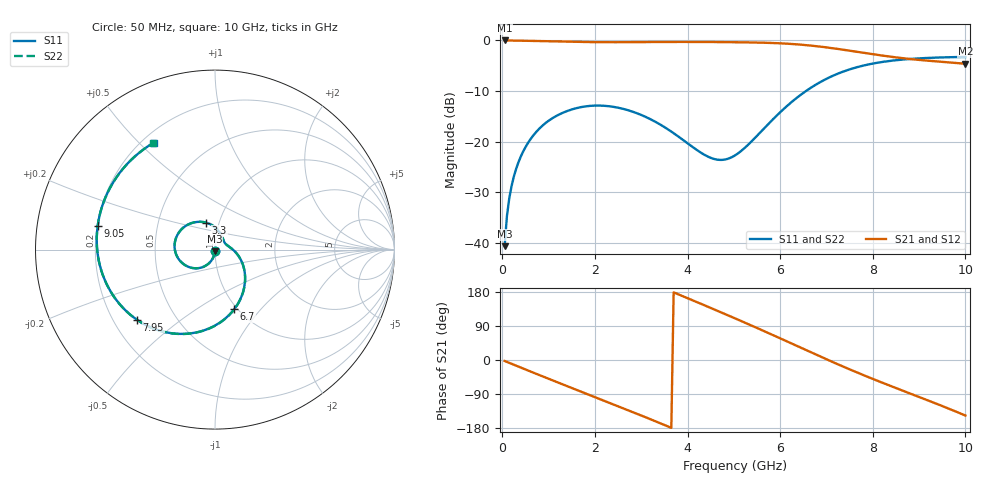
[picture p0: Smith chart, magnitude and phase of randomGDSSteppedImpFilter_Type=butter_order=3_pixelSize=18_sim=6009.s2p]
! freq	dB(S11)	phase(S11)	dB(S12)	phase(S12)
!  dB(S21)	phase(S21)	dB(S22)	phase(S22)
!S-par simulation data
#  GHz  S  DB  R 50
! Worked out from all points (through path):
!   200 points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, 50 MHz to 10 GHz, reference 50 ohm
!   highest |S21| = -0.01 dB at 50 MHz (marker M1); lowest = -4.6 dB at 10 GHz (marker M2)
!   group delay of S21, straight-line fit = 143 ps
!   lowest |S11| = -40.7 dB at 50 MHz (marker M3), VSWR 1.02, Z = 50 - j0.926 ohm
!   |S11| at or under -10 dB: start of sweep to 6.558 GHz
!   |S22| runs from -40.7 to -3.3 dB; largest |S21 - S12| = 0
!   S11 on the Smith chart (normalised r, x): 50 MHz: 1.00, -0.02; 3.3 GHz: 0.87, +0.27; 6.7 GHz: 0.97, -0.73; 7.95 GHz: 0.30, -0.35; 9.05 GHz: 0.20, +0.10; 10 GHz: 0.25, +0.55
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0.05  -40.66 -91.5  -0.01 -2.5  -0.01 -2.5  -40.66 -91.5
0.1  -34.72 -94.6  -0.01 -5.1  -0.01 -5.1  -34.72 -94.6
0.2  -28.78 -100.1  -0.02 -10.1  -0.02 -10.1  -28.78 -100.1
0.5  -21.10 -115.3  -0.07 -25.0  -0.07 -25.0  -21.10 -115.4
1.15  -15.01 -147.6  -0.21 -56.9  -0.21 -56.9  -15.01 -147.7
1.75  -13.10 -176.5  -0.32 -85.8  -0.32 -85.8  -13.10 -176.6
2.5  -13.29 147.0  -0.35 -121.9  -0.35 -121.9  -13.29 146.8
3.3  -16.05 108.1  -0.31 -161.3  -0.31 -161.3  -16.05 107.8
3.4  -16.57 103.2  -0.31 -166.3  -0.31 -166.3  -16.57 102.8
3.8  -18.98 83.0  -0.29 173.4  -0.29 173.4  -18.97 82.6
4.2  -21.64 62.1  -0.30 152.9  -0.30 152.9  -21.64 61.6
4.65  -23.57 38.1  -0.32 129.6  -0.32 129.6  -23.57 37.6
5.05  -22.57 17.1  -0.36 108.6  -0.36 108.6  -22.57 16.8
5.8  -15.99 -22.9  -0.50 68.2  -0.50 68.2  -15.99 -22.7
6.3  -11.78 -50.3  -0.73 40.5  -0.73 40.5  -11.78 -50.1
6.7  -9.14 -72.3  -1.05 18.3  -1.05 18.3  -9.14 -72.0
7.25  -6.55 -102.0  -1.69 -11.5  -1.69 -11.5  -6.55 -101.8
7.95  -4.66 -138.1  -2.65 -47.4  -2.65 -47.4  -4.66 -137.9
8.35  -4.07 -157.7  -3.17 -66.8  -3.17 -66.8  -4.07 -157.5
9.05  -3.52 168.7  -3.89 -99.9  -3.89 -99.9  -3.52 168.9
9.5  -3.35 146.4  -4.23 -121.4  -4.23 -121.4  -3.35 146.6
10  -3.27 119.9  -4.61 -146.5  -4.61 -146.5  -3.27 120.0
